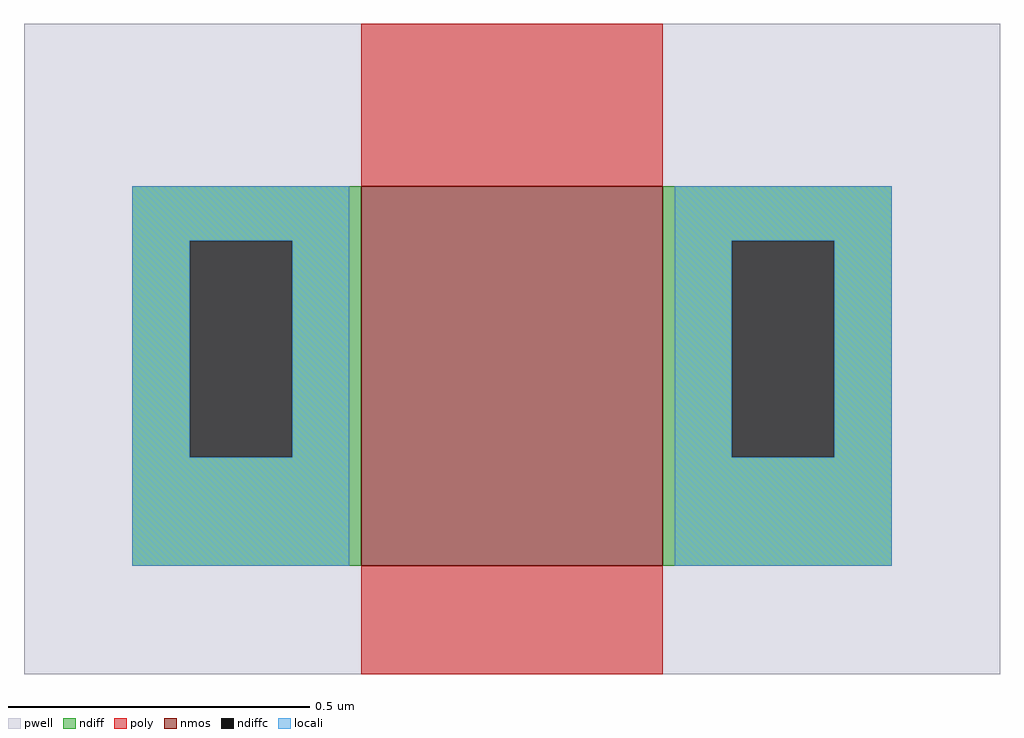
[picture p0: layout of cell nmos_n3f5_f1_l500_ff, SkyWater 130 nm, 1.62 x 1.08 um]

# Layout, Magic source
magic
tech sky130A
magscale 1 2
<< pwell >>
rect -72 -36 252 180
<< nmos >>
rect 40 0 140 126
<< ndiff >>
rect -36 108 40 126
rect -36 36 -17 108
rect 17 36 40 108
rect -36 0 40 36
rect 140 108 216 126
rect 140 36 163 108
rect 197 36 216 108
rect 140 0 216 36
<< ndiffc >>
rect -17 36 17 108
rect 163 36 197 108
<< poly >>
rect 40 126 140 180
rect 40 -36 140 0
<< locali >>
rect -36 108 36 126
rect -36 36 -17 108
rect 17 36 36 108
rect -36 0 36 36
rect 144 108 216 126
rect 144 36 163 108
rect 197 36 216 108
rect 144 0 216 36
<< end >>
